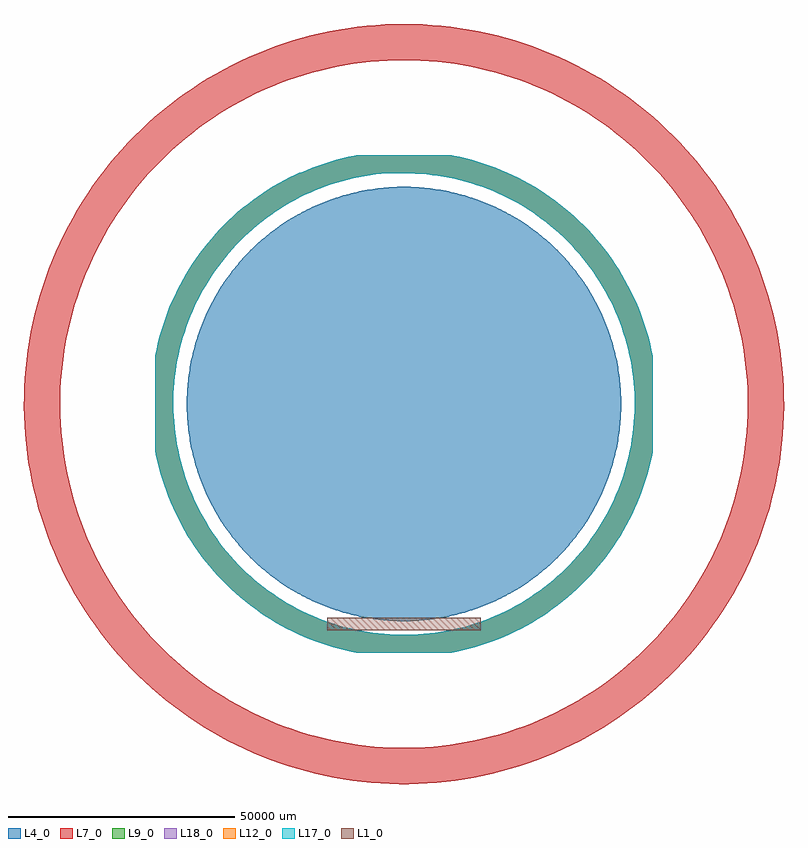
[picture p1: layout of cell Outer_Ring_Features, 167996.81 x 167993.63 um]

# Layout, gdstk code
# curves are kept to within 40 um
import gdstk
lib = gdstk.Library(unit=1e-6, precision=1e-09)
def R(c, l, rs):  # rectangles x0, y0, x1, y1
    for r in rs: c.add(gdstk.rectangle(r[:2], r[2:], *l))
def P(c, l, *ps):  # polygons
    for p in ps: c.add(gdstk.Polygon(p, *l))
L1_0 = (1, 0)
L4_0 = (4, 0)
L7_0 = (7, 0)
L9_0 = (9, 0)
L12_0 = (12, 0)
L17_0 = (17, 0)
L18_0 = (18, 0)

outer_ring_features = lib.new_cell('Outer_Ring_Features')
R(outer_ring_features, L1_0, [(-16999.996,-50000,17000.006,-47300)])
P(outer_ring_features, L4_0, [(-301.597,-48000),(-2712.943,-47924.22),(-5117.436,-47727.38),(-7509.003,-47409.976),(-9881.6,-46972.811),(-12229.236,-46416.988),(-14545.98,-45743.911),(-16825.979,-44955.282),(-19063.475,-44053.092),(-20710.299,-43303.285),(-22859.885,-42208.016),(-24951.725,-41006.126),(-26980.535,-39700.651),(-28941.189,-38294.889),(-30828.736,-36792.391),(-32638.406,-35196.951),(-34365.63,-33512.602),(-36006.042,-31743.596),(-37555.5,-29894.404),(-39010.09,-27969.695),(-40366.137,-25974.333),(-41316.433,-24434.47),(-42491.942,-22327.692),(-43560.112,-20164.513),(-44518.246,-17950.396),(-45363.923,-15690.935),(-46095.007,-13391.837),(-46709.651,-11058.911),(-47206.302,-8698.048),(-47583.706,-6315.214),(-47787.918,-4517.288),(-47954.527,-2110.511),(-48000,301.597),(-47924.22,2712.943),(-47727.38,5117.436),(-47409.976,7509.003),(-46972.811,9881.6),(-46416.988,12229.236),(-45743.911,14545.98),(-44955.282,16825.979),(-44053.092,19063.475),(-43303.285,20710.299),(-42208.016,22859.885),(-41006.126,24951.725),(-39700.651,26980.535),(-38294.889,28941.189),(-36792.391,30828.736),(-35196.951,32638.406),(-33512.602,34365.63),(-31743.596,36006.042),(-29894.404,37555.5),(-27969.695,39010.09),(-25974.333,40366.137),(-24434.47,41316.433),(-22327.692,42491.942),(-20164.513,43560.112),(-17950.396,44518.246),(-15690.935,45363.923),(-13391.837,46095.007),(-11058.911,46709.651),(-8698.048,47206.302),(-6315.214,47583.706),(-4517.288,47787.918),(-2110.511,47954.527),(301.597,48000),(2712.943,47924.22),(5117.436,47727.38),(7509.003,47409.976),(9881.6,46972.811),(12229.236,46416.988),(14545.98,45743.911),(16825.979,44955.282),(19063.475,44053.092),(20710.299,43303.285),(22859.885,42208.016),(24951.725,41006.126),(26980.535,39700.651),(28941.189,38294.889),(30828.736,36792.391),(32638.406,35196.951),(34365.63,33512.602),(36006.042,31743.596),(37555.5,29894.404),(39010.09,27969.695),(40366.137,25974.333),(41316.433,24434.47),(42491.942,22327.692),(43560.112,20164.513),(44518.246,17950.396),(45363.923,15690.935),(46095.007,13391.837),(46709.651,11058.911),(47206.302,8698.048),(47583.706,6315.214),(47787.918,4517.288),(47954.527,2110.511),(48000,-301.597),(47924.22,-2712.943),(47727.38,-5117.436),(47409.976,-7509.003),(46972.811,-9881.6),(46416.988,-12229.236),(45743.911,-14545.98),(44955.282,-16825.979),(44053.092,-19063.475),(43303.285,-20710.299),(42208.016,-22859.885),(41006.126,-24951.725),(39700.651,-26980.535),(38294.889,-28941.189),(36792.391,-30828.736),(35196.951,-32638.406),(33512.602,-34365.63),(31743.596,-36006.042),(29894.404,-37555.5),(27969.695,-39010.09),(25974.333,-40366.137),(24434.47,-41316.433),(22327.692,-42491.942),(20164.513,-43560.112),(17950.396,-44518.246),(15690.935,-45363.923),(13391.837,-46095.007),(11058.911,-46709.651),(8698.048,-47206.302),(6315.214,-47583.706),(4517.288,-47787.918),(2110.511,-47954.527)])
P(outer_ring_features, L7_0, [(-1034.851,-83996.813),(-5171.116,-83843.868),(-9294.825,-83487.355),(-13395.965,-82928.143),(-17464.581,-82167.586),(-21490.792,-81207.534),(-25464.824,-80050.316),(-29377.027,-78698.742),(-33217.901,-77156.095),(-36978.122,-75426.119),(-40648.56,-73513.015),(-44220.301,-71421.428),(-47684.676,-69156.436),(-51033.271,-66723.541),(-54257.957,-64128.644),(-57350.904,-61378.051),(-60304.602,-58478.439),(-63111.879,-55436.848),(-65765.919,-52260.665),(-68260.279,-48957.598),(-70588.902,-45535.67),(-72746.134,-42003.188),(-74726.737,-38368.729),(-76525.903,-34641.119),(-78139.262,-30829.406),(-79562.898,-26942.848),(-80793.354,-22990.879),(-81827.643,-18983.096),(-82663.252,-14929.229),(-83298.154,-10839.122),(-83730.806,-6722.705),(-83960.16,-2589.973),(-83985.658,1549.04),(-83807.235,5684.284),(-83425.328,9805.719),(-82840.863,13903.339),(-82055.259,17967.192),(-81070.422,21987.412),(-79888.747,25954.24),(-78513.099,29858.042),(-76946.823,33689.341),(-75193.716,37438.834),(-73258.039,41097.417),(-71144.49,44656.207),(-68858.2,48106.564),(-66404.723,51440.109),(-63790.013,54648.749),(-61020.42,57724.694),(-58102.669,60660.474),(-55043.843,63448.962),(-51851.371,66083.387),(-48533.002,68557.353),(-46829.112,69732.271),(-43337.097,71954.411),(-39739.859,74001.836),(-36046.131,75869.577),(-32264.884,77553.097),(-28405.295,79048.309),(-24476.74,80351.583),(-20488.752,81459.755),(-16451.019,82370.134),(-12373.343,83080.507),(-8265.623,83589.153),(-4137.835,83894.835),(0,83996.813),(0,75996.81),(-3743.756,75904.547),(-7478.421,75627.978),(-9339.509,75420.771),(-13043.552,74869.142),(-14884.256,74525.055),(-18537.443,73701.379),(-22145.621,72698.748),(-23930.089,72131.068),(-27454.367,70864.702),(-30911.985,69426.267),(-34294.548,67819.257),(-35955.11,66953.739),(-39209.755,65101.306),(-42369.197,63090.799),(-43910.811,62027.777),(-46913.144,59789.427),(-48372.041,58615.456),(-51200.869,56161.49),(-53905.38,53571.154),(-55208.952,52226.8),(-57714.774,49443.804),(-58915.502,48006.848),(-61208.951,45046.39),(-62300.277,43524.683),(-64368.823,40402.932),(-66281.083,37183.074),(-68032.41,33872.927),(-69618.555,30480.529),(-70348.462,28756.052),(-71679.738,25255.777),(-72836.972,21694.173),(-73349.43,19893.069),(-74240.472,16255.726),(-74951.258,12578.907),(-75480.06,8871.537),(-75675.797,7009.207),(-75929.357,3272.909),(-75987.023,1401.209),(-75963.955,-2343.612),(-75883.234,-4214.46),(-75583.664,-7947.351),(-75100.576,-11660.954),(-74790.562,-13507.702),(-74034.534,-17175.485),(-73098.75,-20801.575),(-71985.479,-24377.166),(-70697.428,-27893.576),(-69237.721,-31342.268),(-68444.589,-33038.596),(-66734.175,-36370.067),(-65817.931,-38003.188),(-63866.149,-41199.243),(-61759.3,-44295.274),(-59502.498,-47283.762),(-58319.564,-48735.4),(-55848.216,-51549.057),(-53241.271,-54237.56),(-50505.054,-56794.381),(-49090.533,-58021.457),(-46172.961,-60369.22),(-44671.679,-61488.48),(-41588.686,-63614.36),(-38404.714,-65585.792),(-36777.269,-66512.079),(-33456.396,-68242.984),(-30054.292,-69808.199),(-28325.351,-70527.471),(-24816.942,-71837.159),(-23039.604,-72426.781),(-19444.051,-73473.787),(-15801.289,-74342.406),(-12120.16,-75030.528),(-10267.999,-75306.363),(-6546.103,-75720.746),(-2808.313,-75951.285),(-936.294,-75997.42),(2808.313,-75951.285),(6546.103,-75720.746),(10267.999,-75306.363),(12120.16,-75030.528),(15801.289,-74342.406),(19444.051,-73473.787),(21248.277,-72972.433),(23039.604,-72426.781),(26579.215,-71203.928),(30054.292,-69808.199),(33456.396,-68242.984),(36777.269,-66512.079),(38404.714,-65585.792),(41588.686,-63614.36),(44671.679,-61488.48),(46172.961,-60369.22),(47646.209,-59213.312),(50505.054,-56794.381),(53241.271,-54237.56),(54561.306,-52909.367),(57101.224,-50157.453),(59502.498,-47283.762),(61759.3,-44295.274),(62831.797,-42760.237),(63866.149,-41199.243),(65817.931,-38003.188),(67609.905,-34714.868),(68444.589,-33038.596),(69237.721,-31342.268),(70697.428,-27893.576),(71985.479,-24377.166),(72564.141,-22596.229),(73098.75,-20801.575),(74034.534,-17175.485),(74790.562,-13507.702),(75100.576,-11660.954),(75583.664,-7947.351),(75756.444,-6082.751),(75883.234,-4214.46),(75998.558,-471.344),(75929.357,3272.909),(75825.594,5142.62),(75480.06,8871.537),(75238.496,10728.48),(74951.258,12578.907),(74240.472,16255.726),(73349.43,19893.069),(72836.972,21694.173),(71679.738,25255.777),(71035.662,27014.115),(69618.555,30480.529),(68846.38,32186.499),(67177.138,35538.789),(66281.083,37183.074),(65344.789,38804.783),(63353.781,41976.55),(61208.951,45046.39),(58915.502,48006.848),(57714.774,49443.804),(55208.952,52226.8),(53905.38,53571.154),(51200.869,56161.49),(48372.041,58615.456),(45425.766,60927.098),(42369.197,63090.799),(39209.755,65101.306),(37593.844,66047.572),(34294.548,67819.257),(30911.985,69426.267),(27454.367,70864.702),(25700.029,71519.595),(23930.089,72131.068),(20347.708,73222.291),(16715.923,74135.723),(13043.552,74869.142),(9339.509,75420.771),(7478.421,75627.978),(3743.756,75904.547),(0,75996.81),(0,83996.813),(2069.546,83971.315),(6203.612,83767.423),(10322.616,83360.135),(14416.557,82750.44),(18475.495,81939.817),(22489.572,80930.236),(26449.045,79724.147),(30344.3,78324.479),(34165.879,76734.63),(37904.501,74958.461),(41551.091,73000.283),(45096.794,70864.852),(48533.002,68557.353),(51851.371,66083.387),(55043.843,63448.962),(58102.669,60660.474),(61020.42,57724.694),(63790.013,54648.749),(66404.723,51440.109),(68858.2,48106.564),(71144.49,44656.207),(73258.039,41097.417),(75193.716,37438.834),(76946.823,33689.341),(77753.563,31783.34),(79224.972,27914.616),(80504.022,23978.106),(81587.607,19983.368),(82473.095,15940.104),(83158.338,11858.129),(83641.671,7747.354),(83921.92,3617.761),(83998.406,-520.624),(83870.944,-4657.752),(83539.839,-8783.579),(83005.9,-12888.087),(82270.42,-16961.31),(81335.187,-20993.359),(80202.471,-24974.443),(78875.022,-28894.896),(77356.064,-32745.201),(75649.283,-36516.007),(73758.825,-40198.16),(71689.279,-43782.718),(69445.67,-47260.979),(67033.447,-50624.497),(64458.465,-53865.106),(61726.977,-56974.938),(58845.614,-59946.441),(55821.375,-62772.401),(52661.599,-65445.957),(49373.961,-67960.616),(45966.442,-70310.273),(42447.315,-72489.224),(38825.126,-74492.178),(35108.668,-76314.271),(31306.967,-77951.08),(27429.253,-79398.63),(23484.938,-80653.406),(19483.602,-81712.363),(15434.959,-82572.928),(11348.841,-83233.012),(7235.167,-83691.015),(3103.926,-83945.821)])
P(outer_ring_features, L9_0, [(-49172.55,-26655.379),(-51017.268,-22950.685),(-52583.348,-19119.87),(-53862.236,-15183.858),(-54551.762,-12512.003),(-55000,-10372.42),(-55000,10670.797),(-54046.949,14801.669),(-53259.165,17446.221),(-52342.067,20048.757),(-51297.882,22602.955),(-50129.144,25102.617),(-48838.693,27541.672),(-47429.66,29914.199),(-45101.331,33335.695),(-42526.675,36575.894),(-39719.753,39617.1),(-36695.896,42442.702),(-33471.618,45037.269),(-30064.529,47386.629),(-26493.239,49477.952),(-23155.511,51125.788),(-1256.51,51125.788),(-5018.415,50893.762),(-7512.387,50584.941),(-9988.119,50153.642),(-13654.383,49279.419),(-17246.072,48136.821),(-19589.394,47229.013),(-21885.151,46206.876),(-25227.448,44464.804),(-27380.196,43168.294),(-30483.08,41028.697),(-32460.187,39477.465),(-35276.62,36972.778),(-37900.386,34266.93),(-39535.403,32358.53),(-41074.427,30371.907),(-43194.869,27255.902),(-44478.095,25095.208),(-46199.545,21742.243),(-47668.668,18271.301),(-48877.442,14701.34),(-49819.263,11051.856),(-50488.991,7342.782),(-50882.964,3594.377),(-50999.032,-172.888),(-50836.562,-3938.438),(-50396.439,-7681.705),(-49681.069,-11382.247),(-49053.108,-13815.543),(-47888.406,-17400.126),(-46462.155,-20888.903),(-44782.144,-24262.821),(-43389.907,-26655.379)],
  [(-10522.777,-55000),(-14327.195,-54136.231),(-16976.551,-53364.752),(-19584.685,-52463.703),(-22145.268,-51435.271),(-24652.082,-50281.954),(-28298.21,-48324.024),(-30644.295,-46871.39),(-32915.973,-45304.952),(-35107.733,-43628.512),(-37214.251,-41846.142),(-40203.068,-38983.501),(-42074.586,-36955.773),(-43843.946,-34838.317),(-45506.853,-32636.274),(-47792.853,-29186.355),(-49172.55,-26796.648),(-43389.907,-26796.648),(-42163.443,-28692.23),(-40698.879,-30734.366),(-38317.926,-33656.151),(-35727.695,-36394.117),(-32942.332,-38933.312),(-29977.048,-41259.867),(-26848.041,-43361.074),(-24679.483,-44630.966),(-22451.002,-45792.495),(-19007.802,-47325.506),(-15460.786,-48600.042),(-13047.982,-49302.639),(-9371.225,-50131.628),(-5643.287,-50686.816),(-3139.606,-50903.27),(628.304,-50996.13),(4392.781,-50810.468),(8133.266,-50347.294),(11829.33,-49609.142),(15460.787,-48600.042),(19007.803,-47325.506),(22451.003,-45792.495),(25771.585,-44009.379),(28951.412,-41985.902),(31973.115,-39733.109),(34820.192,-37263.31),(37477.094,-34589.991),(39135.498,-32701.879),(40698.88,-30734.366),(42857.549,-27644.721),(44782.145,-24404.09),(46462.155,-21030.172),(47888.407,-17541.395),(49053.109,-13956.812),(49949.899,-10296.003),(50396.44,-7822.974),(50836.563,-4079.707),(50999.033,-314.157),(50882.965,3453.108),(50651.094,5955.408),(50072.952,9679.856),(49221.329,13351.436),(48100.877,16950.096),(47207.522,19298.964),(45653.329,22732.656),(43849.793,26042.191),(41806.766,29209.493),(39535.404,32217.261),(37900.387,34125.661),(35276.621,36831.509),(32460.188,39336.196),(29466.466,41626.043),(27380.197,43027.025),(24127.772,44931.622),(21885.152,46065.607),(18423.327,47556.084),(16058.35,48405.882),(12439.601,49459.644),(9988.12,50012.373),(7512.388,50443.672),(5018.416,50752.493),(1256.511,50984.519),(-23155.511,50984.519),(-20229.533,52218.446),(-16317.825,53569.847),(-13659.168,54308.628),(-10515.563,55000),(10515.564,55000),(10967.347,54915.547),(13659.169,54308.628),(16317.826,53569.847),(18936.864,52700.998),(21509.923,51704.19),(24030.755,50581.843),(26493.24,49336.683),(28891.398,47971.732),(31219.41,46490.306),(33471.619,44896),(35642.558,43192.686),(37726.957,41384.497),(39719.754,39475.831),(41616.112,37471.314),(43411.424,35375.817),(45101.332,33194.425),(46681.735,30932.438),(48148.793,28595.347),(49498.944,26188.825),(50728.913,23718.717),(51835.71,21191.019),(52816.648,18611.869),(53669.349,15987.529),(54391.739,13324.371),(54982.065,10628.861),(55000.001,-10513.689),(54846.948,-11305.415),(54223.459,-13993.447),(53468.314,-16647.504),(52583.349,-19261.139),(51570.71,-21828.008),(50432.856,-24341.88),(49172.551,-26796.648),(47792.854,-29186.355),(46297.115,-31505.194),(44688.966,-33747.54),(42972.311,-35907.946),(41151.319,-37981.167),(39230.411,-39962.169),(37214.252,-41846.142),(35107.734,-43628.512),(32915.974,-45304.952),(30644.296,-46871.39),(28298.211,-48324.024),(25883.418,-49659.326),(23405.781,-50874.055),(20871.313,-51965.261),(18286.168,-52930.294),(15656.626,-53766.812),(12989.07,-54472.783),(10522.778,-55000)])
P(outer_ring_features, L12_0, [(-49172.55,-26655.379),(-51017.268,-22950.685),(-52583.348,-19119.87),(-53862.236,-15183.858),(-54551.762,-12512.003),(-55000,-10372.42),(-55000,10670.797),(-54046.949,14801.669),(-53259.165,17446.221),(-52342.067,20048.757),(-51297.882,22602.955),(-50129.144,25102.617),(-48838.693,27541.672),(-47429.66,29914.199),(-45101.331,33335.695),(-42526.675,36575.894),(-39719.753,39617.1),(-36695.896,42442.702),(-33471.618,45037.269),(-30064.529,47386.629),(-26493.239,49477.952),(-23155.511,51125.788),(-1256.51,51125.788),(-5018.415,50893.762),(-7512.387,50584.941),(-9988.119,50153.642),(-13654.383,49279.419),(-17246.072,48136.821),(-19589.394,47229.013),(-21885.151,46206.876),(-25227.448,44464.804),(-27380.196,43168.294),(-30483.08,41028.697),(-32460.187,39477.465),(-35276.62,36972.778),(-37900.386,34266.93),(-39535.403,32358.53),(-41074.427,30371.907),(-43194.869,27255.902),(-44478.095,25095.208),(-46199.545,21742.243),(-47668.668,18271.301),(-48877.442,14701.34),(-49819.263,11051.856),(-50488.991,7342.782),(-50882.964,3594.377),(-50999.032,-172.888),(-50836.562,-3938.438),(-50396.439,-7681.705),(-49681.069,-11382.247),(-49053.108,-13815.543),(-47888.406,-17400.126),(-46462.155,-20888.903),(-44782.144,-24262.821),(-43389.907,-26655.379)],
  [(-10522.777,-55000),(-14327.195,-54136.231),(-16976.551,-53364.752),(-19584.685,-52463.703),(-22145.268,-51435.271),(-24652.082,-50281.954),(-28298.21,-48324.024),(-30644.295,-46871.39),(-32915.973,-45304.952),(-35107.733,-43628.512),(-37214.251,-41846.142),(-40203.068,-38983.501),(-42074.586,-36955.773),(-43843.946,-34838.317),(-45506.853,-32636.274),(-47792.853,-29186.355),(-49172.55,-26796.648),(-43389.907,-26796.648),(-42163.443,-28692.23),(-40698.879,-30734.366),(-38317.926,-33656.151),(-35727.695,-36394.117),(-32942.332,-38933.312),(-29977.048,-41259.867),(-26848.041,-43361.074),(-24679.483,-44630.966),(-22451.002,-45792.495),(-19007.802,-47325.506),(-15460.786,-48600.042),(-13047.982,-49302.639),(-9371.225,-50131.628),(-5643.287,-50686.816),(-3139.606,-50903.27),(628.304,-50996.13),(4392.781,-50810.468),(8133.266,-50347.294),(11829.33,-49609.142),(15460.787,-48600.042),(19007.803,-47325.506),(22451.003,-45792.495),(25771.585,-44009.379),(28951.412,-41985.902),(31973.115,-39733.109),(34820.192,-37263.31),(37477.094,-34589.991),(39135.498,-32701.879),(40698.88,-30734.366),(42857.549,-27644.721),(44782.145,-24404.09),(46462.155,-21030.172),(47888.407,-17541.395),(49053.109,-13956.812),(49949.899,-10296.003),(50396.44,-7822.974),(50836.563,-4079.707),(50999.033,-314.157),(50882.965,3453.108),(50651.094,5955.408),(50072.952,9679.856),(49221.329,13351.436),(48100.877,16950.096),(47207.522,19298.964),(45653.329,22732.656),(43849.793,26042.191),(41806.766,29209.493),(39535.404,32217.261),(37900.387,34125.661),(35276.621,36831.509),(32460.188,39336.196),(29466.466,41626.043),(27380.197,43027.025),(24127.772,44931.622),(21885.152,46065.607),(18423.327,47556.084),(16058.35,48405.882),(12439.601,49459.644),(9988.12,50012.373),(7512.388,50443.672),(5018.416,50752.493),(1256.511,50984.519),(-23155.511,50984.519),(-20229.533,52218.446),(-16317.825,53569.847),(-13659.168,54308.628),(-10515.563,55000),(10515.564,55000),(10967.347,54915.547),(13659.169,54308.628),(16317.826,53569.847),(18936.864,52700.998),(21509.923,51704.19),(24030.755,50581.843),(26493.24,49336.683),(28891.398,47971.732),(31219.41,46490.306),(33471.619,44896),(35642.558,43192.686),(37726.957,41384.497),(39719.754,39475.831),(41616.112,37471.314),(43411.424,35375.817),(45101.332,33194.425),(46681.735,30932.438),(48148.793,28595.347),(49498.944,26188.825),(50728.913,23718.717),(51835.71,21191.019),(52816.648,18611.869),(53669.349,15987.529),(54391.739,13324.371),(54982.065,10628.861),(55000.001,-10513.689),(54846.948,-11305.415),(54223.459,-13993.447),(53468.314,-16647.504),(52583.349,-19261.139),(51570.71,-21828.008),(50432.856,-24341.88),(49172.551,-26796.648),(47792.854,-29186.355),(46297.115,-31505.194),(44688.966,-33747.54),(42972.311,-35907.946),(41151.319,-37981.167),(39230.411,-39962.169),(37214.252,-41846.142),(35107.734,-43628.512),(32915.974,-45304.952),(30644.296,-46871.39),(28298.211,-48324.024),(25883.418,-49659.326),(23405.781,-50874.055),(20871.313,-51965.261),(18286.168,-52930.294),(15656.626,-53766.812),(12989.07,-54472.783),(10522.778,-55000)])
P(outer_ring_features, L17_0, [(-49172.55,-26655.379),(-51017.268,-22950.685),(-52583.348,-19119.87),(-53862.236,-15183.858),(-54551.762,-12512.003),(-55000,-10372.42),(-55000,10670.797),(-54046.949,14801.669),(-53259.165,17446.221),(-52342.067,20048.757),(-51297.882,22602.955),(-50129.144,25102.617),(-48838.693,27541.672),(-47429.66,29914.199),(-45101.331,33335.695),(-42526.675,36575.894),(-39719.753,39617.1),(-36695.896,42442.702),(-33471.618,45037.269),(-30064.529,47386.629),(-26493.239,49477.952),(-23155.511,51125.788),(-1256.51,51125.788),(-5018.415,50893.762),(-7512.387,50584.941),(-9988.119,50153.642),(-13654.383,49279.419),(-17246.072,48136.821),(-19589.394,47229.013),(-21885.151,46206.876),(-25227.448,44464.804),(-27380.196,43168.294),(-30483.08,41028.697),(-32460.187,39477.465),(-35276.62,36972.778),(-37900.386,34266.93),(-39535.403,32358.53),(-41074.427,30371.907),(-43194.869,27255.902),(-44478.095,25095.208),(-46199.545,21742.243),(-47668.668,18271.301),(-48877.442,14701.34),(-49819.263,11051.856),(-50488.991,7342.782),(-50882.964,3594.377),(-50999.032,-172.888),(-50836.562,-3938.438),(-50396.439,-7681.705),(-49681.069,-11382.247),(-49053.108,-13815.543),(-47888.406,-17400.126),(-46462.155,-20888.903),(-44782.144,-24262.821),(-43389.907,-26655.379)],
  [(-10522.777,-55000),(-14327.195,-54136.231),(-16976.551,-53364.752),(-19584.685,-52463.703),(-22145.268,-51435.271),(-24652.082,-50281.954),(-28298.21,-48324.024),(-30644.295,-46871.39),(-32915.973,-45304.952),(-35107.733,-43628.512),(-37214.251,-41846.142),(-40203.068,-38983.501),(-42074.586,-36955.773),(-43843.946,-34838.317),(-45506.853,-32636.274),(-47792.853,-29186.355),(-49172.55,-26796.648),(-43389.907,-26796.648),(-42163.443,-28692.23),(-40698.879,-30734.366),(-38317.926,-33656.151),(-35727.695,-36394.117),(-32942.332,-38933.312),(-29977.048,-41259.867),(-26848.041,-43361.074),(-24679.483,-44630.966),(-22451.002,-45792.495),(-19007.802,-47325.506),(-15460.786,-48600.042),(-13047.982,-49302.639),(-9371.225,-50131.628),(-5643.287,-50686.816),(-3139.606,-50903.27),(628.304,-50996.13),(4392.781,-50810.468),(8133.266,-50347.294),(11829.33,-49609.142),(15460.787,-48600.042),(19007.803,-47325.506),(22451.003,-45792.495),(25771.585,-44009.379),(28951.412,-41985.902),(31973.115,-39733.109),(34820.192,-37263.31),(37477.094,-34589.991),(39135.498,-32701.879),(40698.88,-30734.366),(42857.549,-27644.721),(44782.145,-24404.09),(46462.155,-21030.172),(47888.407,-17541.395),(49053.109,-13956.812),(49949.899,-10296.003),(50396.44,-7822.974),(50836.563,-4079.707),(50999.033,-314.157),(50882.965,3453.108),(50651.094,5955.408),(50072.952,9679.856),(49221.329,13351.436),(48100.877,16950.096),(47207.522,19298.964),(45653.329,22732.656),(43849.793,26042.191),(41806.766,29209.493),(39535.404,32217.261),(37900.387,34125.661),(35276.621,36831.509),(32460.188,39336.196),(29466.466,41626.043),(27380.197,43027.025),(24127.772,44931.622),(21885.152,46065.607),(18423.327,47556.084),(16058.35,48405.882),(12439.601,49459.644),(9988.12,50012.373),(7512.388,50443.672),(5018.416,50752.493),(1256.511,50984.519),(-23155.511,50984.519),(-20229.533,52218.446),(-16317.825,53569.847),(-13659.168,54308.628),(-10515.563,55000),(10515.564,55000),(10967.347,54915.547),(13659.169,54308.628),(16317.826,53569.847),(18936.864,52700.998),(21509.923,51704.19),(24030.755,50581.843),(26493.24,49336.683),(28891.398,47971.732),(31219.41,46490.306),(33471.619,44896),(35642.558,43192.686),(37726.957,41384.497),(39719.754,39475.831),(41616.112,37471.314),(43411.424,35375.817),(45101.332,33194.425),(46681.735,30932.438),(48148.793,28595.347),(49498.944,26188.825),(50728.913,23718.717),(51835.71,21191.019),(52816.648,18611.869),(53669.349,15987.529),(54391.739,13324.371),(54982.065,10628.861),(55000.001,-10513.689),(54846.948,-11305.415),(54223.459,-13993.447),(53468.314,-16647.504),(52583.349,-19261.139),(51570.71,-21828.008),(50432.856,-24341.88),(49172.551,-26796.648),(47792.854,-29186.355),(46297.115,-31505.194),(44688.966,-33747.54),(42972.311,-35907.946),(41151.319,-37981.167),(39230.411,-39962.169),(37214.252,-41846.142),(35107.734,-43628.512),(32915.974,-45304.952),(30644.296,-46871.39),(28298.211,-48324.024),(25883.418,-49659.326),(23405.781,-50874.055),(20871.313,-51965.261),(18286.168,-52930.294),(15656.626,-53766.812),(12989.07,-54472.783),(10522.778,-55000)])
P(outer_ring_features, L18_0, [(-49172.55,-26655.379),(-51017.268,-22950.685),(-52583.348,-19119.87),(-53862.236,-15183.858),(-54551.762,-12512.003),(-55000,-10372.42),(-55000,10670.797),(-54046.949,14801.669),(-53259.165,17446.221),(-52342.067,20048.757),(-51297.882,22602.955),(-50129.144,25102.617),(-48838.693,27541.672),(-47429.66,29914.199),(-45101.331,33335.695),(-42526.675,36575.894),(-39719.753,39617.1),(-36695.896,42442.702),(-33471.618,45037.269),(-30064.529,47386.629),(-26493.239,49477.952),(-23155.511,51125.788),(-1256.51,51125.788),(-5018.415,50893.762),(-7512.387,50584.941),(-9988.119,50153.642),(-13654.383,49279.419),(-17246.072,48136.821),(-19589.394,47229.013),(-21885.151,46206.876),(-25227.448,44464.804),(-27380.196,43168.294),(-30483.08,41028.697),(-32460.187,39477.465),(-35276.62,36972.778),(-37900.386,34266.93),(-39535.403,32358.53),(-41074.427,30371.907),(-43194.869,27255.902),(-44478.095,25095.208),(-46199.545,21742.243),(-47668.668,18271.301),(-48877.442,14701.34),(-49819.263,11051.856),(-50488.991,7342.782),(-50882.964,3594.377),(-50999.032,-172.888),(-50836.562,-3938.438),(-50396.439,-7681.705),(-49681.069,-11382.247),(-49053.108,-13815.543),(-47888.406,-17400.126),(-46462.155,-20888.903),(-44782.144,-24262.821),(-43389.907,-26655.379)],
  [(-10522.777,-55000),(-14327.195,-54136.231),(-16976.551,-53364.752),(-19584.685,-52463.703),(-22145.268,-51435.271),(-24652.082,-50281.954),(-28298.21,-48324.024),(-30644.295,-46871.39),(-32915.973,-45304.952),(-35107.733,-43628.512),(-37214.251,-41846.142),(-40203.068,-38983.501),(-42074.586,-36955.773),(-43843.946,-34838.317),(-45506.853,-32636.274),(-47792.853,-29186.355),(-49172.55,-26796.648),(-43389.907,-26796.648),(-42163.443,-28692.23),(-40698.879,-30734.366),(-38317.926,-33656.151),(-35727.695,-36394.117),(-32942.332,-38933.312),(-29977.048,-41259.867),(-26848.041,-43361.074),(-24679.483,-44630.966),(-22451.002,-45792.495),(-19007.802,-47325.506),(-15460.786,-48600.042),(-13047.982,-49302.639),(-9371.225,-50131.628),(-5643.287,-50686.816),(-3139.606,-50903.27),(628.304,-50996.13),(4392.781,-50810.468),(8133.266,-50347.294),(11829.33,-49609.142),(15460.787,-48600.042),(19007.803,-47325.506),(22451.003,-45792.495),(25771.585,-44009.379),(28951.412,-41985.902),(31973.115,-39733.109),(34820.192,-37263.31),(37477.094,-34589.991),(39135.498,-32701.879),(40698.88,-30734.366),(42857.549,-27644.721),(44782.145,-24404.09),(46462.155,-21030.172),(47888.407,-17541.395),(49053.109,-13956.812),(49949.899,-10296.003),(50396.44,-7822.974),(50836.563,-4079.707),(50999.033,-314.157),(50882.965,3453.108),(50651.094,5955.408),(50072.952,9679.856),(49221.329,13351.436),(48100.877,16950.096),(47207.522,19298.964),(45653.329,22732.656),(43849.793,26042.191),(41806.766,29209.493),(39535.404,32217.261),(37900.387,34125.661),(35276.621,36831.509),(32460.188,39336.196),(29466.466,41626.043),(27380.197,43027.025),(24127.772,44931.622),(21885.152,46065.607),(18423.327,47556.084),(16058.35,48405.882),(12439.601,49459.644),(9988.12,50012.373),(7512.388,50443.672),(5018.416,50752.493),(1256.511,50984.519),(-23155.511,50984.519),(-20229.533,52218.446),(-16317.825,53569.847),(-13659.168,54308.628),(-10515.563,55000),(10515.564,55000),(10967.347,54915.547),(13659.169,54308.628),(16317.826,53569.847),(18936.864,52700.998),(21509.923,51704.19),(24030.755,50581.843),(26493.24,49336.683),(28891.398,47971.732),(31219.41,46490.306),(33471.619,44896),(35642.558,43192.686),(37726.957,41384.497),(39719.754,39475.831),(41616.112,37471.314),(43411.424,35375.817),(45101.332,33194.425),(46681.735,30932.438),(48148.793,28595.347),(49498.944,26188.825),(50728.913,23718.717),(51835.71,21191.019),(52816.648,18611.869),(53669.349,15987.529),(54391.739,13324.371),(54982.065,10628.861),(55000.001,-10513.689),(54846.948,-11305.415),(54223.459,-13993.447),(53468.314,-16647.504),(52583.349,-19261.139),(51570.71,-21828.008),(50432.856,-24341.88),(49172.551,-26796.648),(47792.854,-29186.355),(46297.115,-31505.194),(44688.966,-33747.54),(42972.311,-35907.946),(41151.319,-37981.167),(39230.411,-39962.169),(37214.252,-41846.142),(35107.734,-43628.512),(32915.974,-45304.952),(30644.296,-46871.39),(28298.211,-48324.024),(25883.418,-49659.326),(23405.781,-50874.055),(20871.313,-51965.261),(18286.168,-52930.294),(15656.626,-53766.812),(12989.07,-54472.783),(10522.778,-55000)])

lib.write_gds('Outer_Ring_Features.gds')
